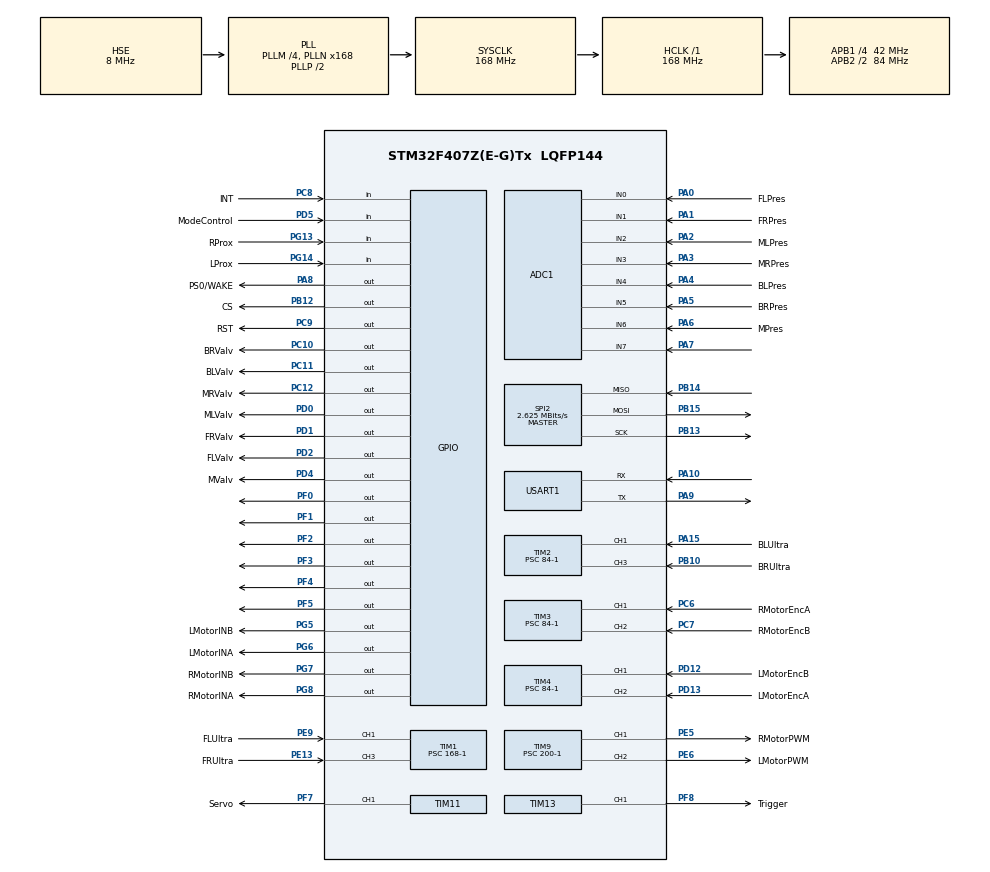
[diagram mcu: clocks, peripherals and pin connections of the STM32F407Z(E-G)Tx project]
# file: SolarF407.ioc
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ADC1.Channel-1\#ChannelRegularConversion=ADC_CHANNEL_0
ADC1.Channel-2\#ChannelRegularConversion=ADC_CHANNEL_1
ADC1.Channel-3\#ChannelRegularConversion=ADC_CHANNEL_2
ADC1.Channel-4\#ChannelRegularConversion=ADC_CHANNEL_3
ADC1.Channel-5\#ChannelRegularConversion=ADC_CHANNEL_4
ADC1.Channel-6\#ChannelRegularConversion=ADC_CHANNEL_5
ADC1.Channel-7\#ChannelRegularConversion=ADC_CHANNEL_6
ADC1.Channel-8\#ChannelRegularConversion=ADC_CHANNEL_7
ADC1.ContinuousConvMode=ENABLE
ADC1.DMAContinuousRequests=ENABLE
ADC1.NbrOfConversion=8
ADC1.NbrOfConversionFlag=1
ADC1.Rank-1\#ChannelRegularConversion=1
ADC1.Rank-2\#ChannelRegularConversion=2
ADC1.Rank-3\#ChannelRegularConversion=3
ADC1.Rank-4\#ChannelRegularConversion=4
ADC1.Rank-5\#ChannelRegularConversion=5
ADC1.Rank-6\#ChannelRegularConversion=6
ADC1.Rank-7\#ChannelRegularConversion=7
ADC1.Rank-8\#ChannelRegularConversion=8
ADC1.SamplingTime-1\#ChannelRegularConversion=ADC_SAMPLETIME_56CYCLES
ADC1.SamplingTime-2\#ChannelRegularConversion=ADC_SAMPLETIME_56CYCLES
ADC1.SamplingTime-3\#ChannelRegularConversion=ADC_SAMPLETIME_56CYCLES
ADC1.SamplingTime-4\#ChannelRegularConversion=ADC_SAMPLETIME_56CYCLES
ADC1.SamplingTime-5\#ChannelRegularConversion=ADC_SAMPLETIME_56CYCLES
ADC1.SamplingTime-6\#ChannelRegularConversion=ADC_SAMPLETIME_56CYCLES
ADC1.SamplingTime-7\#ChannelRegularConversion=ADC_SAMPLETIME_56CYCLES
ADC1.SamplingTime-8\#ChannelRegularConversion=ADC_SAMPLETIME_56CYCLES
ADC1.ScanConvMode=ENABLE
ADC1.master=1
Dma.ADC1.0.Direction=DMA_PERIPH_TO_MEMORY
Dma.ADC1.0.FIFOMode=DMA_FIFOMODE_DISABLE
Dma.ADC1.0.Instance=DMA2_Stream0
Dma.ADC1.0.MemDataAlignment=DMA_MDATAALIGN_HALFWORD
Dma.ADC1.0.MemInc=DMA_MINC_ENABLE
Dma.ADC1.0.Mode=DMA_CIRCULAR
Dma.ADC1.0.PeriphDataAlignment=DMA_PDATAALIGN_HALFWORD
Dma.ADC1.0.PeriphInc=DMA_PINC_DISABLE
Dma.ADC1.0.Priority=DMA_PRIORITY_LOW
Dma.Request0=ADC1
Mcu.Family=STM32F4
Mcu.Name=STM32F407Z(E-G)Tx
Mcu.Package=LQFP144
NVIC.DMA2_Stream0_IRQn=true\:0\:0\:false\:false\:true\:false\:true
NVIC.PriorityGroup=NVIC_PRIORITYGROUP_4
NVIC.TIM1_CC_IRQn=true\:0\:0\:false\:false\:true\:true\:true
NVIC.TIM2_IRQn=true\:0\:0\:false\:false\:true\:true\:true
NVIC.TIM3_IRQn=true\:0\:0\:false\:false\:true\:true\:true
NVIC.TIM4_IRQn=true\:0\:0\:false\:false\:true\:true\:true
NVIC.TIM7_IRQn=true\:0\:0\:false\:false\:true\:true\:true
NVIC.USART1_IRQn=true\:0\:0\:false\:false\:true\:true\:true
PA0-WKUP.GPIO_Label=FLPres
PA0-WKUP.Signal=ADCx_IN0
PA1.GPIO_Label=FRPres
PA1.Signal=ADCx_IN1
PA10.Mode=Asynchronous
PA10.Signal=USART1_RX
PA13.Mode=Trace_Asynchronous_SW
PA13.Signal=SYS_JTMS-SWDIO
PA14.Mode=Trace_Asynchronous_SW
PA14.Signal=SYS_JTCK-SWCLK
PA15.GPIO_Label=BLUltra
PA15.Signal=S_TIM2_CH1_ETR
PA2.GPIO_Label=MLPres
PA2.Signal=ADCx_IN2
PA3.GPIO_Label=MRPres
PA3.Signal=ADCx_IN3
PA4.GPIO_Label=BLPres
PA4.Signal=ADCx_IN4
PA5.GPIO_Label=BRPres
PA5.Signal=ADCx_IN5
PA6.GPIO_Label=MPres
PA6.Signal=ADCx_IN6
PA7.Signal=ADCx_IN7
PA8.GPIO_Label=PS0/WAKE
PA8.Signal=GPIO_Output
PA9.Mode=Asynchronous
PA9.Signal=USART1_TX
PB10.GPIO_Label=BRUltra
PB10.Signal=S_TIM2_CH3
PB12.GPIO_Label=CS
PB12.Signal=GPIO_Output
PB13.Mode=Full_Duplex_Master
PB13.Signal=SPI2_SCK
PB14.Mode=Full_Duplex_Master
PB14.Signal=SPI2_MISO
PB15.Mode=Full_Duplex_Master
PB15.Signal=SPI2_MOSI
PB3.Mode=Trace_Asynchronous_SW
PB3.Signal=SYS_JTDO-SWO
PC10.GPIO_Label=BRValv
PC10.Signal=GPIO_Output
PC11.GPIO_Label=BLValv
PC11.Signal=GPIO_Output
PC12.GPIO_Label=MRValv
PC12.Signal=GPIO_Output
PC6.GPIO_Label=RMotorEncA
PC6.Signal=S_TIM3_CH1
PC7.GPIO_Label=RMotorEncB
PC7.Signal=S_TIM3_CH2
PC8.GPIO_Label=INT
PC8.Signal=GPIO_Input
PC9.GPIO_Label=RST
PC9.Signal=GPIO_Output
PD0.GPIO_Label=MLValv
PD0.Signal=GPIO_Output
PD1.GPIO_Label=FRValv
PD1.Signal=GPIO_Output
PD12.GPIO_Label=LMotorEncB
PD12.Signal=S_TIM4_CH1
PD13.GPIO_Label=LMotorEncA
PD13.Signal=S_TIM4_CH2
PD2.GPIO_Label=FLValv
PD2.Signal=GPIO_Output
PD4.GPIO_Label=MValv
PD4.Signal=GPIO_Output
PD5.GPIO_Label=ModeControl
PD5.Signal=GPIO_Input
PE13.GPIO_Label=FRUltra
PE13.Signal=S_TIM1_CH3
PE5.GPIO_Label=RMotorPWM
PE5.Signal=S_TIM9_CH1
PE6.GPIO_Label=LMotorPWM
PE6.Signal=S_TIM9_CH2
PE9.GPIO_Label=FLUltra
PE9.Signal=S_TIM1_CH1
PF0.Signal=GPIO_Output
PF1.Signal=GPIO_Output
PF2.Signal=GPIO_Output
PF3.Signal=GPIO_Output
PF4.Signal=GPIO_Output
PF5.Signal=GPIO_Output
PF7.GPIO_Label=Servo
PF7.Signal=S_TIM11_CH1
PF8.GPIO_Label=Trigger
PF8.Signal=S_TIM13_CH1
PG13.GPIO_Label=RProx
PG13.Signal=GPIO_Input
PG14.GPIO_Label=LProx
PG14.Signal=GPIO_Input
PG5.GPIO_Label=LMotorINB
PG5.Signal=GPIO_Output
PG6.GPIO_Label=LMotorINA
PG6.Signal=GPIO_Output
PG7.GPIO_Label=RMotorINB
PG7.Signal=GPIO_Output
PG8.GPIO_Label=RMotorINA
PG8.Signal=GPIO_Output
PH0-OSC_IN.Mode=HSE-External-Oscillator
PH0-OSC_IN.Signal=RCC_OSC_IN
PH1-OSC_OUT.Mode=HSE-External-Oscillator
PH1-OSC_OUT.Signal=RCC_OSC_OUT
ProjectManager.HeapSize=0x200
ProjectManager.StackSize=0x400
ProjectManager.TargetToolchain=TrueSTUDIO
RCC.48MHZClocksFreq_Value=84000000
RCC.AHBFreq_Value=168000000
RCC.APB1CLKDivider=RCC_HCLK_DIV4
RCC.APB1Freq_Value=42000000
RCC.APB1TimFreq_Value=84000000
RCC.APB2CLKDivider=RCC_HCLK_DIV2
RCC.APB2Freq_Value=84000000
RCC.APB2TimFreq_Value=168000000
RCC.CortexFreq_Value=168000000
RCC.HCLKFreq_Value=168000000
RCC.HSE_VALUE=8000000
RCC.HSI_VALUE=16000000
RCC.LSE_VALUE=32768
RCC.PLLM=4
RCC.PLLN=168
RCC.PLLSourceVirtual=RCC_PLLSOURCE_HSE
RCC.SYSCLKFreq_VALUE=168000000
RCC.SYSCLKSource=RCC_SYSCLKSOURCE_PLLCLK
RCC.VCOOutputFreq_Value=336000000
SH.ADCx_IN0.0=ADC1_IN0,IN0
SH.ADCx_IN1.0=ADC1_IN1,IN1
SH.ADCx_IN2.0=ADC1_IN2,IN2
SH.ADCx_IN3.0=ADC1_IN3,IN3
SH.ADCx_IN4.0=ADC1_IN4,IN4
SH.ADCx_IN5.0=ADC1_IN5,IN5
SH.ADCx_IN6.0=ADC1_IN6,IN6
SH.ADCx_IN7.0=ADC1_IN7,IN7
SH.S_TIM11_CH1.0=TIM11_CH1,PWM Generation1 CH1
SH.S_TIM13_CH1.0=TIM13_CH1,PWM Generation1 CH1
SH.S_TIM1_CH1.0=TIM1_CH1,Input_Capture1_from_TI1
SH.S_TIM1_CH1.1=TIM1_CH1,Input_Capture2_from_TI1
SH.S_TIM1_CH3.0=TIM1_CH3,Input_Capture3_from_TI3
SH.S_TIM1_CH3.1=TIM1_CH3,Input_Capture4_from_TI3
SH.S_TIM2_CH1_ETR.0=TIM2_CH1,Input_Capture1_from_TI1
SH.S_TIM2_CH1_ETR.1=TIM2_CH1,Input_Capture2_from_TI1
SH.S_TIM2_CH3.0=TIM2_CH3,Input_Capture3_from_TI3
SH.S_TIM2_CH3.1=TIM2_CH3,Input_Capture4_from_TI3
SH.S_TIM3_CH1.0=TIM3_CH1,Encoder_Interface
SH.S_TIM3_CH2.0=TIM3_CH2,Encoder_Interface
SH.S_TIM4_CH1.0=TIM4_CH1,Encoder_Interface
SH.S_TIM4_CH2.0=TIM4_CH2,Encoder_Interface
SH.S_TIM9_CH1.0=TIM9_CH1,PWM Generation1 CH1
SH.S_TIM9_CH2.0=TIM9_CH2,PWM Generation2 CH2
SPI2.BaudRatePrescaler=SPI_BAUDRATEPRESCALER_16
SPI2.CLKPhase=SPI_PHASE_2EDGE
SPI2.CLKPolarity=SPI_POLARITY_HIGH
SPI2.CalculateBaudRate=2.625 MBits/s
SPI2.Direction=SPI_DIRECTION_2LINES
SPI2.Mode=SPI_MODE_MASTER
SPI2.VirtualType=VM_MASTER
TIM1.Channel-Input_Capture1_from_TI1=TIM_CHANNEL_1
TIM1.Channel-Input_Capture2_from_TI1=TIM_CHANNEL_2
TIM1.Channel-Input_Capture3_from_TI3=TIM_CHANNEL_3
TIM1.Channel-Input_Capture4_from_TI3=TIM_CHANNEL_4
TIM1.ICFilter_CH1=15
TIM1.ICFilter_CH3=15
TIM1.ICPolarity_CH2=TIM_INPUTCHANNELPOLARITY_FALLING
TIM1.ICPolarity_CH3=TIM_INPUTCHANNELPOLARITY_RISING
TIM1.ICPolarity_CH4=TIM_INPUTCHANNELPOLARITY_FALLING
TIM1.Period=30000-1
TIM1.Prescaler=168-1
TIM11.Channel=TIM_CHANNEL_1
TIM11.Period=8400-1
TIM11.Prescaler=400-1
TIM13.Channel=TIM_CHANNEL_1
TIM13.Period=8400-1
TIM13.Prescaler=500-1
TIM2.Channel-Input_Capture1_from_TI1=TIM_CHANNEL_1
TIM2.Channel-Input_Capture2_from_TI1=TIM_CHANNEL_2
TIM2.Channel-Input_Capture3_from_TI3=TIM_CHANNEL_3
TIM2.Channel-Input_Capture4_from_TI3=TIM_CHANNEL_4
TIM2.ICFilter_CH1=15
TIM2.ICFilter_CH3=15
TIM2.ICPolarity_CH2=TIM_INPUTCHANNELPOLARITY_FALLING
TIM2.ICPolarity_CH4=TIM_INPUTCHANNELPOLARITY_FALLING
TIM2.Period=30000-1
TIM2.Prescaler=84-1
TIM3.EncoderMode=TIM_ENCODERMODE_TI12
TIM3.Period=30000-1
TIM3.Prescaler=84-1
TIM4.EncoderMode=TIM_ENCODERMODE_TI12
TIM4.Period=30000-1
TIM4.Prescaler=84-1
TIM7.Period=1000-1
TIM7.Prescaler=84-1
TIM7.TIM_MasterOutputTrigger=TIM_TRGO_RESET
TIM9.Channel-PWM\ Generation1\ CH1=TIM_CHANNEL_1
TIM9.Channel-PWM\ Generation2\ CH2=TIM_CHANNEL_2
TIM9.Period=8400-1
TIM9.Prescaler=200-1
USART1.VirtualMode=VM_ASYNC
VP_TIM11_VS_ClockSourceINT.Mode=Enable_Timer
VP_TIM13_VS_ClockSourceINT.Mode=Enable_Timer
VP_TIM7_VS_ClockSourceINT.Mode=Enable_Timer
board=custom

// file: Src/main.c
/* USER CODE BEGIN Header */
/**
 ******************************************************************************
 * @file           : main.c
 * @brief          : Main program body
 ******************************************************************************
 * @attention
 *
 * <h2><center>&copy; Copyright (c) 2019 STMicroelectronics.
 * All rights reserved.</center></h2>
 *
 * This software component is licensed by ST under BSD 3-Clause license,
 * the "License"; You may not use this file except in compliance with the
 * License. You may obtain a copy of the License at:
 *                        opensource.org/licenses/BSD-3-Clause
 *
 ******************************************************************************
 */
/* USER CODE END Header */

#include "main.h"
#include "adc.h"
#include "dma.h"
#include "spi.h"
#include "tim.h"
#include "usart.h"
#include "gpio.h"

/* USER CODE BEGIN Includes */
#include "BNO080.h"
#include "Quaternion.h"
#include <stdio.h>
#include <stdlib.h>
#include <errno.h>
#include <inttypes.h>
#include <Math.h>
#include "stm32f4xx.h"
/* USER CODE END Includes */

/* USER CODE BEGIN PM */
//void PositionControlA();
uint16_t PositionControl(double error);
void normal_set();
void Rrotation_set();
void Lrotation_set();
void back_set();
void Solenoid_init();
void Rstep();
void Lstep();
void Allstep();
void Stop();
int _write(int file, unsigned char* p, int len) {
	//HAL_UART_Transmit(&huart1, p, len, 10);
	int i;
	for (i = 0; i < len; i++)
		ITM_SendChar(*p++);
	return len;
}
/*int __io_putchar(int ch) {
 ITM_SendChar(ch);
 return (ch);
 }
 int _write(int file, char *ptr, int len) {
 int DataIdx;
 for (DataIdx = 0; DataIdx < len; DataIdx++) {
 __io_putchar(*ptr++);
 }
 return len;
 }*/
/* USER CODE END PM */

/* USER CODE BEGIN PV */
int32_t EncoderCount3 = 0;
int32_t EncoderCount4 = 0;

char Mode = 'S';
float q[4], quatRadianAccuracy;
unsigned char MotorFlag = 0, TimEvent = 0;
double error_previous = 0, Ltime = 0.01, I_ctl, Control;
typedef struct _Gain {
	double Kp;
	double Ki;
	double Kd;
} Gain;
int initialPosFlag = 0, TargetDeg = 35, TargetEnc = 35, RotDirection = 0,
		stepcount = 9, DegTrig = 0;
uint32_t light = 400, TimCount = 0;
Gain LeftMotor = { 80, 5, 0.5 };
Gain RightMotor = { 1, 0.03, 0.005 };
uint32_t IC1Value = 0, IC2Value = 0, IC3Value = 0, IC4Value = 0;
float DutyCycle = 0;
uint8_t stepfront = 0, Ble[1], b = 0, LRflag = 0, dirsave = 0, Serialavailable =
		0, LRTrig = 0;
;
;
uint16_t adcval[8], MotorSpeed = 7000, imu_tick = 0;
float adcbuffer[8], adcvaltrace[8];
/* USER CODE END PV */

void SystemClock_Config(void);

int main(void) {

	/* MCU Configuration--------------------------------------------------------*/

	/* Reset of all peripherals, Initializes the Flash interface and the Systick. */
	HAL_Init();

	/* Configure the system clock */
	SystemClock_Config();

	/* Initialize all configured peripherals */
	MX_GPIO_Init();
	MX_DMA_Init();
	MX_SPI2_Init();
	MX_TIM2_Init();
	MX_TIM3_Init();
	MX_TIM4_Init();
	MX_TIM7_Init();
	MX_TIM1_Init();
	MX_ADC1_Init();
	MX_TIM9_Init();
	MX_TIM13_Init();
	MX_TIM11_Init();
	MX_USART1_UART_Init();
	/* USER CODE BEGIN 2 */
	//Motor Initiate
	HAL_TIM_PWM_Start(&htim9, TIM_CHANNEL_1);
	HAL_TIM_PWM_Start(&htim9, TIM_CHANNEL_2);
	//Servo Initiate
	HAL_TIM_PWM_Start(&htim11, TIM_CHANNEL_1);
	//Ultra Initiate
	HAL_TIM_IC_Start_IT(&htim1, TIM_CHANNEL_1);
	HAL_TIM_IC_Start_IT(&htim1, TIM_CHANNEL_2);
	HAL_TIM_IC_Start_IT(&htim1, TIM_CHANNEL_3);
	HAL_TIM_IC_Start_IT(&htim1, TIM_CHANNEL_4);
	HAL_TIM_IC_Start_IT(&htim2, TIM_CHANNEL_1);
	HAL_TIM_IC_Start_IT(&htim2, TIM_CHANNEL_2);
	HAL_TIM_IC_Start_IT(&htim2, TIM_CHANNEL_3);
	HAL_TIM_IC_Start_IT(&htim2, TIM_CHANNEL_4);
	HAL_TIM_PWM_Start(&htim13, TIM_CHANNEL_1);
	//Ultra Trigger Signal
	__HAL_TIM_SET_COMPARE(&htim13, TIM_CHANNEL_1, 84);
	// Internal Timer Initiate
	HAL_TIM_Base_Start_IT(&htim7);
	// Encoder Initiate
	HAL_TIM_Encoder_Start(&htim3, TIM_CHANNEL_1);
	HAL_TIM_Encoder_Start(&htim3, TIM_CHANNEL_2);
	HAL_TIM_Encoder_Start(&htim4, TIM_CHANNEL_1);
	HAL_TIM_Encoder_Start(&htim4, TIM_CHANNEL_2);
	HAL_ADC_Start_DMA(&hadc1, adcval, 8);
	HAL_UART_Receive_IT(&huart1, Ble, 1);
	normal_set();
	Solenoid_init();
	__HAL_TIM_SET_COMPARE(&htim11, TIM_CHANNEL_1, 320); //축 해제
	//IMU Initiate
	//BNO080_GPIO_SPI_Initialization();
	//BNO080_Initialization();
	//BNO080_enableRotationVector(500);
	/* USER CODE END 2 */

	/* Infinite loop */
	/* USER CODE BEGIN WHILE */

	uint32_t current_tick = HAL_GetTick();
	while (1) {
		/* USER CODE END WHILE */

		/* USER CODE BEGIN 3 */

		while (HAL_GetTick() - current_tick < 10)
			;
		current_tick = HAL_GetTick();
		/*LL_GPIO_ResetOutputPin(GPIOD, GPIO_PIN_4); //M
		 LL_GPIO_SetOutputPin(GPIOD, GPIO_PIN_2); //FL
		 HAL_Delay(4000);
		 LL_GPIO_ResetOutputPin(GPIOD, GPIO_PIN_2); //FL
		 LL_GPIO_SetOutputPin(GPIOD, GPIO_PIN_1); //FR
		 HAL_Delay(4000);
		 LL_GPIO_ResetOutputPin(GPIOD, GPIO_PIN_1); //FR
		 LL_GPIO_SetOutputPin(GPIOD, GPIO_PIN_0); //ML
		 HAL_Delay(4000);
		 LL_GPIO_ResetOutputPin(GPIOD, GPIO_PIN_0); //ML
		 LL_GPIO_SetOutputPin(GPIOC, GPIO_PIN_12); //MR
		 HAL_Delay(4000);
		 LL_GPIO_ResetOutputPin(GPIOC, GPIO_PIN_12); //MR
		 LL_GPIO_SetOutputPin(GPIOC, GPIO_PIN_11); //BL
		 HAL_Delay(4000);
		 LL_GPIO_ResetOutputPin(GPIOC, GPIO_PIN_11); //BL
		 LL_GPIO_SetOutputPin(GPIOC, GPIO_PIN_10); //BR
		 HAL_Delay(2000);
		 LL_GPIO_ResetOutputPin(GPIOC, GPIO_PIN_10); //BR
		 LL_GPIO_SetOutputPin(GPIOD, GPIO_PIN_4); //M
		 HAL_Delay(4000);*/
		/*if (BNO080_dataAvailable() == 1) {
		 q[0] = BNO080_getQuatI();
		 q[1] = BNO080_getQuatJ();
		 q[2] = BNO080_getQuatK();
		 q[3] = BNO080_getQuatReal();
		 quatRadianAccuracy = BNO080_getQuatRadianAccuracy();
		 Quaternion_Update(&q[0]);
		 }*/
		//모터위치수신
		EncoderCount3 = TIM3->CNT;	//R
		EncoderCount4 = TIM4->CNT;	//L

		//초기화, 전진, 회전, 정지모드 전환
		switch (Mode) {
		//초기화 모드
		case 'I':
			if (MotorFlag == 0) {
				normal_set();
				Solenoid_init();
				LL_GPIO_SetOutputPin(GPIOD, GPIO_PIN_4);
				__HAL_TIM_SET_COMPARE(&htim9, TIM_CHANNEL_2, 5000); //left 초기화
				__HAL_TIM_SET_COMPARE(&htim9, TIM_CHANNEL_1, 0);
				if (HAL_GPIO_ReadPin(GPIOG, GPIO_PIN_14) == GPIO_PIN_SET) { //L근접센서 도달
					MotorFlag = 1;
					__HAL_TIM_SET_COMPARE(&htim9, TIM_CHANNEL_2, 0); //left 초기화
					LL_GPIO_SetOutputPin(GPIOG, GPIO_PIN_8);
					LL_GPIO_SetOutputPin(GPIOG, GPIO_PIN_7);
					if (initialPosFlag == 0) {

						initialPosFlag = 1;
						TIM4->CNT = 0; //R
						EncoderCount4 = 0;
						__HAL_TIM_SET_COMPARE(&htim9, TIM_CHANNEL_1, 5000); //right 초기화
					}
					break;
				}
			} else if (MotorFlag == 1) { //좌측 근접센서 도달

				if (HAL_GPIO_ReadPin(GPIOG, GPIO_PIN_13) == GPIO_PIN_SET) { //R근접센서 도달
					if (initialPosFlag == 1) {
						initialPosFlag = 2;
						TIM3->CNT = 0; //R
						EncoderCount3 = 0;
						MotorFlag = 2;
					}
				}
				break;
			} else if (MotorFlag == 2) {
				if (EncoderCount3 >= TargetEnc) { //엔코더 특정 지점 인식시 활성화
					if (!TimEvent) {
						__HAL_TIM_SET_COMPARE(&htim9, TIM_CHANNEL_1, 0);
						__HAL_TIM_SET_COMPARE(&htim9, TIM_CHANNEL_2, 0);
						Stop();
						TimCount = 0;
						TimEvent = 1;
					}
					//normal_set();
					Allstep();

					//servo up
					if (TimCount >= 600) { //내부타이머(종료 후 항상 초기화 필요)
						__HAL_TIM_SET_COMPARE(&htim11, TIM_CHANNEL_1, 500); //축 해제
						TIM3->CNT = 0;
						EncoderCount3 = 0;
						TIM4->CNT = 0;
						EncoderCount4 = 0;
						initialPosFlag = 0;
						TimEvent = 0;
						LL_GPIO_ResetOutputPin(GPIOD, GPIO_PIN_4);
					}
					break;
				} else {
					__HAL_TIM_SET_COMPARE(&htim9, TIM_CHANNEL_1, 5000);
				}
			}
			break;
			//전진 모드
		case 'G':
			//근접센서 인식 ->잠시 멈추고 공압 전환 후 전진
			if (HAL_GPIO_ReadPin(GPIOG, GPIO_PIN_13) == GPIO_PIN_SET
					|| HAL_GPIO_ReadPin(GPIOG, GPIO_PIN_14) == GPIO_PIN_SET) {
				if (HAL_GPIO_ReadPin(GPIOG, GPIO_PIN_13) == GPIO_PIN_SET)
					LRTrig = 1; //R근접
				else if (HAL_GPIO_ReadPin(GPIOG, GPIO_PIN_14) == GPIO_PIN_SET)
					LRTrig = 0; //L근접

				if (!initialPosFlag) {
					if (adcvaltrace[0] > -30)
						stepfront = 1; //Lstep flow
					else if (adcvaltrace[1] > -30)
						stepfront = 4; //Rstep flow
					initialPosFlag = 1;
					Stop();
					Allstep();
					if (stepfront == 1) {
						LL_GPIO_ResetOutputPin(GPIOD, GPIO_PIN_2); //FL
						stepfront++;
					} else if (stepfront == 2) {
						LL_GPIO_ResetOutputPin(GPIOD, GPIO_PIN_0); //ML
						stepfront++;
					} else if (stepfront == 3) {
						LL_GPIO_ResetOutputPin(GPIOC, GPIO_PIN_11); //BL
						stepfront = 0;
					} else if (stepfront == 4) {
						LL_GPIO_ResetOutputPin(GPIOD, GPIO_PIN_1); //FR
						stepfront++;
					} else if (stepfront == 5) {
						LL_GPIO_ResetOutputPin(GPIOC, GPIO_PIN_12); //MR
						stepfront++;
					} else if (stepfront == 6) {
						LL_GPIO_ResetOutputPin(GPIOC, GPIO_PIN_10); //BR
						stepfront = 0;
					}
					if (!TimEvent) {
						TimCount = 0;
						TimEvent = 1;
					}
				}

				if (TimCount >= 800) {
					normal_set();
					if (HAL_GPIO_ReadPin(GPIOG, GPIO_PIN_13) == GPIO_PIN_SET) //R근접
						Lstep();
					else if (HAL_GPIO_ReadPin(GPIOG, GPIO_PIN_14)
							== GPIO_PIN_SET) //L근접
						Rstep();
					TimEvent = 0;
					initialPosFlag = 0;
				}
			} else {
				normal_set();
				LL_GPIO_ResetOutputPin(GPIOD, GPIO_PIN_4);
			}
			//전진 Motor Speed 조절
			if (EncoderCount3 - EncoderCount4 < -2) {
				__HAL_TIM_SET_COMPARE(&htim9, TIM_CHANNEL_1, MotorSpeed); //R
				__HAL_TIM_SET_COMPARE(&htim9, TIM_CHANNEL_2, 0); //L

			} else if (EncoderCount3 - EncoderCount4 > 2) {
				__HAL_TIM_SET_COMPARE(&htim9, TIM_CHANNEL_1, 0);
				__HAL_TIM_SET_COMPARE(&htim9, TIM_CHANNEL_2, MotorSpeed * 0.7);

			} else {
				__HAL_TIM_SET_COMPARE(&htim9, TIM_CHANNEL_1, MotorSpeed);
				__HAL_TIM_SET_COMPARE(&htim9, TIM_CHANNEL_2, MotorSpeed * 0.7);
			}
			break;

		case 'T':
			//body turn
			if (TimCount > 500) {
				//모든다리 공압 대기압으로
				LL_GPIO_ResetOutputPin(GPIOD, GPIO_PIN_2); //FL
				LL_GPIO_ResetOutputPin(GPIOD, GPIO_PIN_1); //FR
				LL_GPIO_ResetOutputPin(GPIOD, GPIO_PIN_0); //ML
				LL_GPIO_ResetOutputPin(GPIOC, GPIO_PIN_12); //MR
				LL_GPIO_ResetOutputPin(GPIOC, GPIO_PIN_11); //BL
				LL_GPIO_ResetOutputPin(GPIOC, GPIO_PIN_10); //BR
				switch (dirsave) {
				case 76: //좌회전
					Lrotation_set();
					break;
				case 82: //우회전
					Rrotation_set();
					break;
				}
				if (HAL_GPIO_ReadPin(GPIOG, GPIO_PIN_13) == GPIO_PIN_SET
						|| HAL_GPIO_ReadPin(GPIOG, GPIO_PIN_14)
								== GPIO_PIN_SET) { //인식시 1회씩 실행
					if (!initialPosFlag) {
						initialPosFlag = 1;
						//stepwalk++;
					}
				} else
					initialPosFlag = 0;
				__HAL_TIM_SET_COMPARE(&htim9, TIM_CHANNEL_1, 4000);
				__HAL_TIM_SET_COMPARE(&htim9, TIM_CHANNEL_2, 4000 * 0.7);
			} else {
				LL_GPIO_SetOutputPin(GPIOD, GPIO_PIN_4); // 가운데 다리 진공
				__HAL_TIM_SET_COMPARE(&htim11, TIM_CHANNEL_1, 320); //가운데 서보모터 내림
				if (LRTrig)
					Lstep(); //R근접
				else
					Rstep();
				Stop(); //전진 정지
			}
			break;
		case 'J':
			if (adcvaltrace[0] > -30) {
				Lstep();
				LL_GPIO_ResetOutputPin(GPIOD, GPIO_PIN_2); //FL
			} else if (adcvaltrace[1] > -30) {
				Rstep();
				LL_GPIO_ResetOutputPin(GPIOD, GPIO_PIN_1); //FR
			}

			break;
		case 'S':
			Stop();
			break;
		}
		for (int i = 0; i < 8; i++) {
			adcbuffer[i] = adcval[i]; //((adcval[i]/4096-0.94)/0.018);
			adcvaltrace[i] = ((adcbuffer[i] / 4096 - 0.94) / 0.018);
		}
	}
	//adc = ((adcval[0] / 4096-0.94)/0.018);

//값 수신 코드
//LL_USART_TransmitData8(USART1,&a);
//HAL_UART_Transmit(&huart1,&a,1,10);
//printf("%" PRId32, IC2Value);
//printf("  %" PRId32 ",%" PRId32, TIM4->CNT, TIM3->CNT);
//printf(" %f,%f,%f\n", BNO080_Roll, BNO080_Pitch, BNO080_Yaw);

	/* USER CODE END 3 */
}

void SystemClock_Config(void) {
	RCC_OscInitTypeDef RCC_OscInitStruct = { 0 };
	RCC_ClkInitTypeDef RCC_ClkInitStruct = { 0 };

	/** Configure the main internal regulator output voltage
	 */
	__HAL_RCC_PWR_CLK_ENABLE()
	;
	__HAL_PWR_VOLTAGESCALING_CONFIG(PWR_REGULATOR_VOLTAGE_SCALE1);
	/** Initializes the CPU, AHB and APB busses clocks
	 */
	RCC_OscInitStruct.OscillatorType = RCC_OSCILLATORTYPE_HSE;
	RCC_OscInitStruct.HSEState = RCC_HSE_ON;
	RCC_OscInitStruct.PLL.PLLState = RCC_PLL_ON;
	RCC_OscInitStruct.PLL.PLLSource = RCC_PLLSOURCE_HSE;
	RCC_OscInitStruct.PLL.PLLM = 4;
	RCC_OscInitStruct.PLL.PLLN = 168;
	RCC_OscInitStruct.PLL.PLLP = RCC_PLLP_DIV2;
	RCC_OscInitStruct.PLL.PLLQ = 4;
	if (HAL_RCC_OscConfig(&RCC_OscInitStruct) != HAL_OK) {
		Error_Handler();
	}
	/** Initializes the CPU, AHB and APB busses clocks
	 */
	RCC_ClkInitStruct.ClockType = RCC_CLOCKTYPE_HCLK | RCC_CLOCKTYPE_SYSCLK
			| RCC_CLOCKTYPE_PCLK1 | RCC_CLOCKTYPE_PCLK2;
	RCC_ClkInitStruct.SYSCLKSource = RCC_SYSCLKSOURCE_PLLCLK;
	RCC_ClkInitStruct.AHBCLKDivider = RCC_SYSCLK_DIV1;
	RCC_ClkInitStruct.APB1CLKDivider = RCC_HCLK_DIV4;
	RCC_ClkInitStruct.APB2CLKDivider = RCC_HCLK_DIV2;

	if (HAL_RCC_ClockConfig(&RCC_ClkInitStruct, FLASH_LATENCY_5) != HAL_OK) {
		Error_Handler();
	}
}

/* USER CODE BEGIN 4 */
uint16_t PositionControl(double error) {		//우측
	double P_ctl = LeftMotor.Kp * error;
	I_ctl += LeftMotor.Ki * error * Ltime;
	double D_ctl = LeftMotor.Kd * (error - error_previous) / (Ltime);
	Control = P_ctl + I_ctl + D_ctl;
	error_previous = error;
	return (uint16_t) fmin(Control, 8000);
	/*if (Control > 0) {
	 LL_GPIO_SetOutputPin(GPIOG, GPIO_PIN_5); //R
	 LL_GPIO_ResetOutputPin(GPIOG, GPIO_PIN_6);
	 __HAL_TIM_SET_COMPARE(&htim9, TIM_CHANNEL_1, fmin(Control, 8000));
	 } else {
	 LL_GPIO_SetOutputPin(GPIOG, GPIO_PIN_6);
	 LL_GPIO_ResetOutputPin(GPIOG, GPIO_PIN_5);
	 __HAL_TIM_SET_COMPARE(&htim9, TIM_CHANNEL_1, fmin(-Control, 8000));
	 }*/

}
void normal_set() {
	LL_GPIO_SetOutputPin(GPIOG, GPIO_PIN_5); //R
	LL_GPIO_ResetOutputPin(GPIOG, GPIO_PIN_6);
	LL_GPIO_ResetOutputPin(GPIOG, GPIO_PIN_7); //L
	LL_GPIO_SetOutputPin(GPIOG, GPIO_PIN_8);
}
void Lrotation_set() {
	LL_GPIO_SetOutputPin(GPIOG, GPIO_PIN_5); //R
	LL_GPIO_ResetOutputPin(GPIOG, GPIO_PIN_6);
	LL_GPIO_SetOutputPin(GPIOG, GPIO_PIN_7); //L
	LL_GPIO_ResetOutputPin(GPIOG, GPIO_PIN_8);
}
void Rrotation_set() {
	LL_GPIO_ResetOutputPin(GPIOG, GPIO_PIN_5); //R
	LL_GPIO_SetOutputPin(GPIOG, GPIO_PIN_6);
	LL_GPIO_ResetOutputPin(GPIOG, GPIO_PIN_7); //L
	LL_GPIO_SetOutputPin(GPIOG, GPIO_PIN_8);
}
void back_set() {
	LL_GPIO_ResetOutputPin(GPIOG, GPIO_PIN_5); //R
	LL_GPIO_SetOutputPin(GPIOG, GPIO_PIN_6);
	LL_GPIO_SetOutputPin(GPIOG, GPIO_PIN_7); //L
	LL_GPIO_ResetOutputPin(GPIOG, GPIO_PIN_8);
}
void Stop() {
	LL_GPIO_SetOutputPin(GPIOG, GPIO_PIN_5); //R
	LL_GPIO_SetOutputPin(GPIOG, GPIO_PIN_6);
	LL_GPIO_SetOutputPin(GPIOG, GPIO_PIN_7); //L
	LL_GPIO_SetOutputPin(GPIOG, GPIO_PIN_8);
}
void Solenoid_init() {
	LL_GPIO_ResetOutputPin(GPIOD, GPIO_PIN_2); //FL
	LL_GPIO_ResetOutputPin(GPIOD, GPIO_PIN_1); //FR
	LL_GPIO_ResetOutputPin(GPIOD, GPIO_PIN_0); //ML
	LL_GPIO_ResetOutputPin(GPIOC, GPIO_PIN_12); //MR
	LL_GPIO_ResetOutputPin(GPIOC, GPIO_PIN_11); //BL
	LL_GPIO_ResetOutputPin(GPIOC, GPIO_PIN_10); //BR
	LL_GPIO_ResetOutputPin(GPIOD, GPIO_PIN_4); //M

}
void Rstep() {
	LL_GPIO_ResetOutputPin(GPIOD, GPIO_PIN_2); //FL
	LL_GPIO_SetOutputPin(GPIOD, GPIO_PIN_1); //FR
	LL_GPIO_ResetOutputPin(GPIOD, GPIO_PIN_0); //ML
	LL_GPIO_SetOutputPin(GPIOC, GPIO_PIN_12); //MR
	LL_GPIO_ResetOutputPin(GPIOC, GPIO_PIN_11); //BL
	LL_GPIO_SetOutputPin(GPIOC, GPIO_PIN_10); //BR
}
void Lstep() {
	LL_GPIO_SetOutputPin(GPIOD, GPIO_PIN_2); //FL
	LL_GPIO_ResetOutputPin(GPIOD, GPIO_PIN_1); //FR
	LL_GPIO_SetOutputPin(GPIOD, GPIO_PIN_0); //ML
	LL_GPIO_ResetOutputPin(GPIOC, GPIO_PIN_12); //MR
	LL_GPIO_SetOutputPin(GPIOC, GPIO_PIN_11); //BL
	LL_GPIO_ResetOutputPin(GPIOC, GPIO_PIN_10); //BR
}
void Allstep() {
	LL_GPIO_SetOutputPin(GPIOD, GPIO_PIN_2); //FL
	LL_GPIO_SetOutputPin(GPIOD, GPIO_PIN_1); //FR
	LL_GPIO_SetOutputPin(GPIOD, GPIO_PIN_0); //ML
	LL_GPIO_SetOutputPin(GPIOC, GPIO_PIN_12); //MR
	LL_GPIO_SetOutputPin(GPIOC, GPIO_PIN_11); //BL
	LL_GPIO_SetOutputPin(GPIOC, GPIO_PIN_10); //BR
}
void HAL_TIM_IC_CaptureCallback(TIM_HandleTypeDef *htim) {
	if (htim->Instance == TIM1) {
		if (htim->Channel == HAL_TIM_ACTIVE_CHANNEL_1) {
			TIM1->CNT = 0;
		}
		if (htim->Channel == HAL_TIM_ACTIVE_CHANNEL_2) {
			IC1Value = HAL_TIM_ReadCapturedValue(htim, TIM_CHANNEL_2);
		}
		if (htim->Channel == HAL_TIM_ACTIVE_CHANNEL_4) {
			IC2Value = HAL_TIM_ReadCapturedValue(htim, TIM_CHANNEL_4);
		}
	} else if (htim->Instance == TIM2) {
		if (htim->Channel == HAL_TIM_ACTIVE_CHANNEL_1) {
			TIM2->CNT = 0;
		}
		if (htim->Channel == HAL_TIM_ACTIVE_CHANNEL_2) {
			IC3Value = HAL_TIM_ReadCapturedValue(htim, TIM_CHANNEL_2);
		}
		if (htim->Channel == HAL_TIM_ACTIVE_CHANNEL_4) {
			IC4Value = HAL_TIM_ReadCapturedValue(htim, TIM_CHANNEL_4);
		}
	}

}
void HAL_TIM_PeriodElapsedCallback(TIM_HandleTypeDef *htim) {
	if (htim->Instance == TIM7) {
		if (TimCount >= 65535) {
			TimCount = 65535;
		} else
			TimCount++;
	}
}

uint8_t serial_statue = 0, serial_mode = 0;
void HAL_UART_RxCpltCallback(UART_HandleTypeDef *huart) {
	if (huart->Instance == USART1) {
		HAL_UART_Receive_IT(&huart1, Ble, 1);
		if (serial_statue == 1) {
			if (Ble[0] == 115) 	//s
				serial_mode = 1;
			else if (Ble[0] == 73) 	//I
				serial_mode = 2;
			else if (Ble[0] == 71) 	//G
				serial_mode = 3;
			else if (Ble[0] == 76 || Ble[0] == 82) {  //L, R
				dirsave = Ble[0];
				serial_mode = 4;
			} else if (Ble[0] == (uint8_t) 0x72) 	//r
				serial_mode = 5;
			else if (Ble[0] == (uint8_t) 0x03) {  		//etx end

				switch (serial_mode) {

				case 1:
					Mode = 'S';
					break;
				case 2:
					TimCount = 0;
					MotorFlag = 0;
					initialPosFlag = 0;
					Mode = 'I';
					break;
				case 3:
					TimCount = 0;
					Mode = 'G';
					break;
				case 4:
					TimCount = 0;
					Mode = 'T';

					break;
				case 5:

					printf("R:%d;P:%d;FL:%d;FR:%d;ML:%d;MR:%d;BL:%d;BR:%d;\n",
							(int) (BNO080_Roll), (int) (BNO080_Pitch),
							(int) ((adcval[0] / 4096 - 0.94) / 0.018),
							(int) ((adcval[1] / 4096 - 0.94) / 0.018),
							(int) ((adcval[2] / 4096 - 0.94) / 0.018),
							(int) ((adcval[3] / 4096 - 0.94) / 0.018),
							(int) ((adcval[4] / 4096 - 0.94) / 0.018),
							(int) ((adcval[5] / 4096 - 0.94) / 0.018));

					break;
				}
				serial_mode = 0;
				serial_statue = 0;
				//Ble[0] = 0x00;

			} else if (Ble[0] == (uint8_t) 0x02) {		//serial restart

				serial_mode = 0;
				Ble[0] = 0x00;
			}
		}
		if (Ble[0] == (uint8_t) 0x02) { 				//stx start
			serial_statue = 1;
		}
	}

}
/* USER CODE END 4 */

void Error_Handler(void) {
}

/************************ (C) COPYRIGHT STMicroelectronics *****END OF FILE****/
